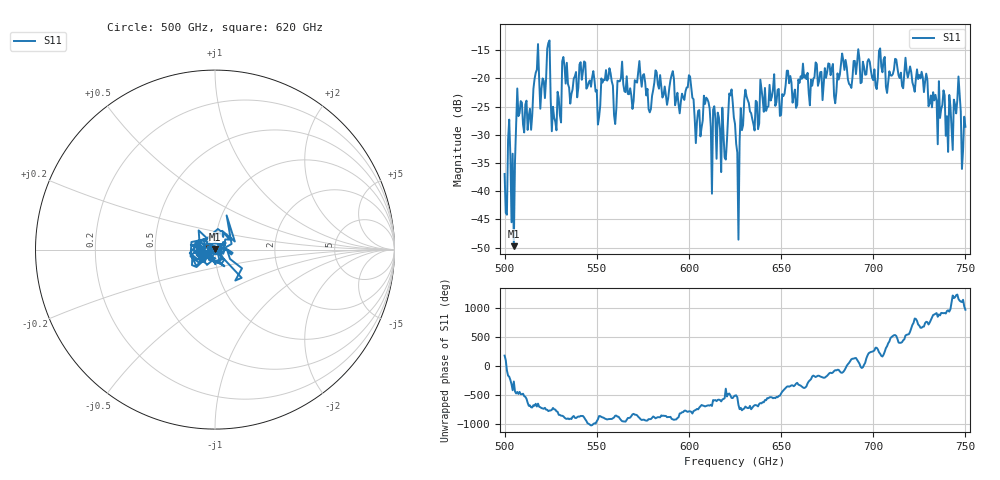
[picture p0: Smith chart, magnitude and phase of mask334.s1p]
!Created with skrf (http://scikit-rf.org).
# GHz S MA R 50.0
!freq magS11 angS11
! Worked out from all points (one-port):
!   401 points, 500 GHz to 750 GHz, reference 50 ohm
!   lowest |S11| = -49.7 dB at 505 GHz (marker M1), VSWR 1.01, Z = 50 + j0.326 ohm
!   |S11| at or under -10 dB: start of sweep to end of sweep
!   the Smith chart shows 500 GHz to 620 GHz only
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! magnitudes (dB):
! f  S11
! 500 GHz  -36.9
! 503.1 GHz  -33.6
! 505 GHz  -49.7
! 507.5 GHz  -26.7
! 513.8 GHz  -25.4
! 516.9 GHz  -19.0
! 520.6 GHz  -20.0
! 523.8 GHz  -13.7
! 526.9 GHz  -27.0
! 531.2 GHz  -17.0
! 542.5 GHz  -18.8
! 550.6 GHz  -28.2
! 562.5 GHz  -20.5
! 593.8 GHz  -22.6
! 600 GHz  -19.5
! 605 GHz  -25.8
! 609.4 GHz  -23.4
! 618.8 GHz  -29.9
! 623.1 GHz  -22.0
! 625 GHz  -28.1
! 626.2 GHz  -33.2
! 631.2 GHz  -23.2
! 656.2 GHz  -24.3
! 687.5 GHz  -21.2
! 718.8 GHz  -19.9
! 741.9 GHz  -25.0
! 745.6 GHz  -23.8
! 750 GHz  -28.6
